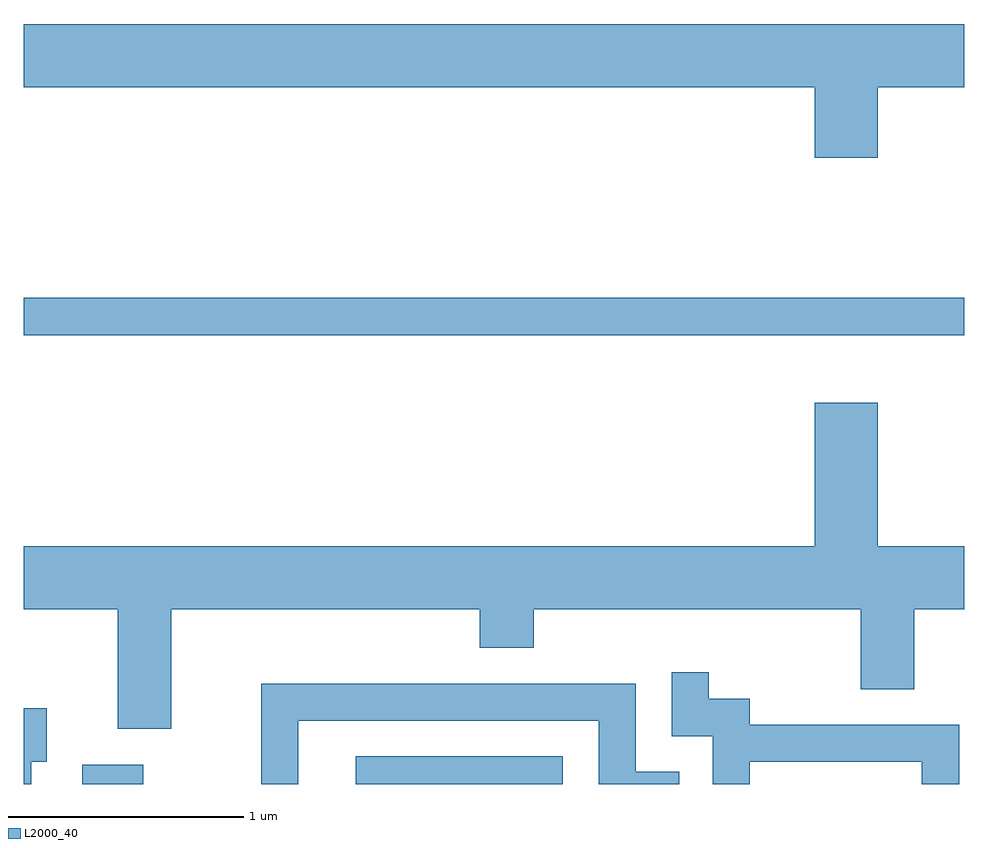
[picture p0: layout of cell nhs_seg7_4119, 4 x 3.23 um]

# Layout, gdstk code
import gdstk
lib = gdstk.Library(unit=1e-6, precision=1e-09)
def R(c, l, rs):  # rectangles x0, y0, x1, y1
    for r in rs: c.add(gdstk.rectangle(r[:2], r[2:], *l))
def P(c, l, *ps):  # polygons
    for p in ps: c.add(gdstk.Polygon(p, *l))
L2000_40 = (2000, 40)

nhs_seg7_4119 = lib.new_cell('nhs_seg7_4119')
R(nhs_seg7_4119, L2000_40, [(311.861,1700.252,312.119,1700.334), (313.023,1700.252,313.904,1700.369), (311.611,1702.161,315.611,1702.319)])
P(nhs_seg7_4119, L2000_40, [(315.244,1703.216),(315.611,1703.216),(315.611,1703.484),(311.611,1703.484),(311.611,1703.216),(314.976,1703.216),(314.976,1702.916),(315.244,1702.916)],
  [(314.976,1701.264),(311.611,1701.264),(311.611,1700.996),(312.011,1700.996),(312.011,1700.486),(312.239,1700.486),(312.239,1700.996),(313.551,1700.996),(313.551,1700.831),(313.779,1700.831),(313.779,1700.996),(315.171,1700.996),(315.171,1700.656),(315.399,1700.656),(315.399,1700.996),(315.611,1700.996),(315.611,1701.264),(315.244,1701.264),(315.244,1701.874),(314.976,1701.874)],
  [(314.699,1700.346),(315.431,1700.346),(315.431,1700.252),(315.589,1700.252),(315.589,1700.504),(314.699,1700.504),(314.699,1700.614),(314.524,1700.614),(314.524,1700.728),(314.366,1700.728),(314.366,1700.456),(314.541,1700.456),(314.541,1700.252),(314.699,1700.252)],
  [(312.779,1700.521),(314.056,1700.521),(314.056,1700.252),(314.398,1700.252),(314.398,1700.304),(314.214,1700.304),(314.214,1700.679),(312.621,1700.679),(312.621,1700.252),(312.779,1700.252)],
  [(311.644,1700.346),(311.709,1700.346),(311.709,1700.574),(311.611,1700.574),(311.611,1700.252),(311.644,1700.252)])

lib.write_gds('nhs_seg7_4119.gds')
